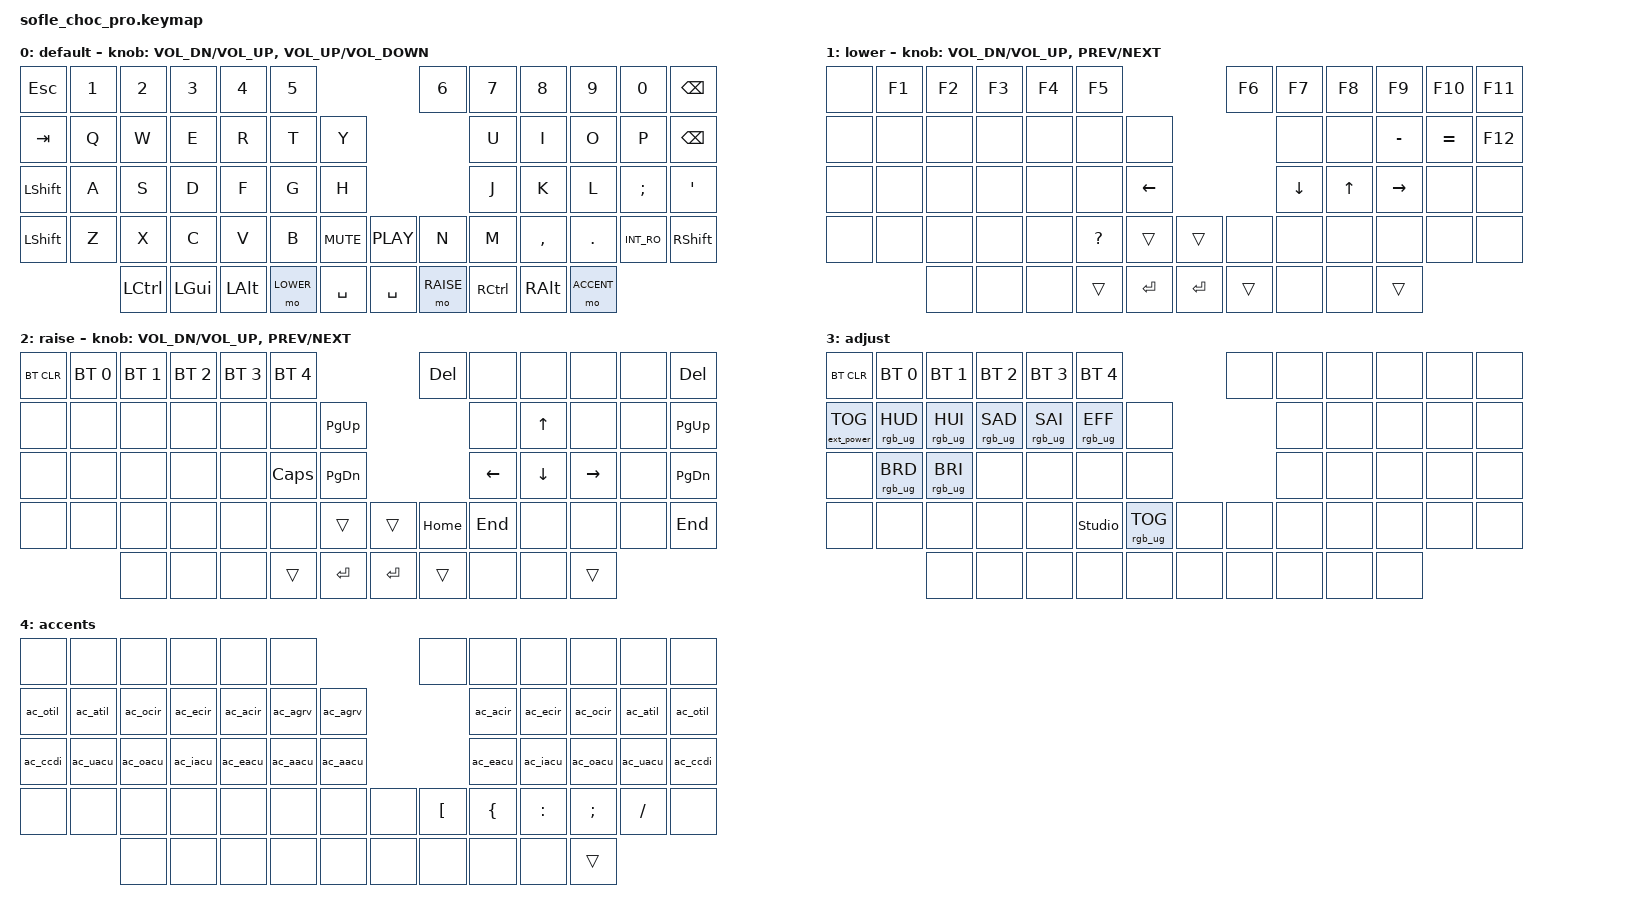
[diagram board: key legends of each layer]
/*
* Copyright (c) 2020 The ZMK Contributors
*
* SPDX-License-Identifier: MIT
*/

#include <behaviors.dtsi>
#include <dt-bindings/zmk/bt.h>
#include <dt-bindings/zmk/ext_power.h>
#include <dt-bindings/zmk/keys.h>
#include <dt-bindings/zmk/rgb.h>
#include "accents.dtsi"

#define BASE 0
#define LOWER 1
#define RAISE 2
#define ADJUST 3
#define ACCENT 4

/ {
    // Activate ADJUST layer by pressing raise and lower

    conditional_layers {
        compatible = "zmk,conditional-layers";

        adjust_layer {
            if-layers = <LOWER RAISE>;
            then-layer = <ADJUST>;
        };
    };

    keymap {
        compatible = "zmk,keymap";

        default_layer {
            display-name = "default";

            // ------------------------------------------------------------------------------------------------------------
            // |   `   |  1  |  2  |  3   |  4   |  5   |                   |  6   |  7    |  8    |  9   |   0   |   `   |
            // |  ESC  |  Q  |  W  |  E   |  R   |  T   |                   |  Y   |  U    |  I    |  O   |   P   | BKSPC |
            // |  TAB  |  A  |  S  |  D   |  F   |  G   |                   |  H   |  J    |  K    |  L   |   ;   |   '   |
            // | SHIFT |  Z  |  X  |  C   |  V   |  B   |  MUTE  |  | PLAY  |  N   |  M    |  ,    |  .   |   /   | SHIFT |
            //               | GUI | ALT  | CTRL | LOWER|  ENTER |  | SPACE | RAISE| CTRL  | ALT   | GUI  |

            bindings = <
&kp ESCAPE      &kp N1  &kp N2            &kp N3        &kp N4        &kp N5                             &kp N6     &kp N7     &kp N8     &kp N9      &kp N0      &kp BACKSPACE
&kp TAB         &kp Q   &kp W             &kp E         &kp R         &kp T      &kp Y                              &kp U      &kp I      &kp O       &kp P       &kp BSPC
&kp LEFT_SHIFT  &kp A   &kp S             &kp D         &kp F         &kp G      &kp H                              &kp J      &kp K      &kp L       &kp SEMI    &kp SQT
&kp LEFT_SHIFT  &kp Z   &kp X             &kp C         &kp V         &kp B      &kp C_MUTE  &kp C_PLAY  &kp N      &kp M      &kp COMMA  &kp DOT     &kp INT_RO  &kp RSHFT
                        &kp LEFT_CONTROL  &kp LEFT_GUI  &kp LEFT_ALT  &mo LOWER  &kp SPACE   &kp SPACE   &mo RAISE  &kp RCTRL  &kp RALT   &mo ACCENT
            >;

            sensor-bindings =
                <&inc_dec_kp C_VOL_DN C_VOL_UP>,
                <&inc_dec_kp C_VOLUME_UP C_VOLUME_DOWN>;
        };

        lower_layer {
            display-name = "lower";

            // ------------------------------------------------------------------------------------------------------------
            // |       |  F1 |  F2 |  F3  |  F4  |  F5  |                   |  F6  |  F7   |  F8   |  F9  |  F10  |  F11  |
            // |   `   |  1  |  2  |  3   |  4   |  5   |                   |  6   |  7    |  8    |  9   |   0   |  F12  |
            // |       |  !  |  @  |  #   |  $   |  %   |                   |  ^   |  &    |  *    |  (   |   )   |   |   |
            // |       |  =  |  -  |  +   |  {   |  }   |        |  |       |  [   |  ]    |  ;    |  :   |   \   |       |
            //               |     |      |      |      |        |  |       |      |       |       |      |

            bindings = <
&none  &kp F1  &kp F2  &kp F3  &kp F4  &kp F5                                   &kp F6  &kp F7          &kp F8        &kp F9           &kp F10    &kp F11
&none  &none   &none   &none   &none   &none         &none                              &none           &none         &kp MINUS        &kp EQUAL  &kp F12
&none  &none   &none   &none   &none   &none         &kp LEFT_ARROW                     &kp DOWN_ARROW  &kp UP_ARROW  &kp RIGHT_ARROW  &none      &none
&none  &none   &none   &none   &none   &kp QUESTION  &trans          &trans     &none   &none           &none         &none            &none      &none
               &none   &none   &none   &trans        &kp ENTER       &kp ENTER  &trans  &none           &none         &trans
            >;

            sensor-bindings = <&inc_dec_kp C_VOL_DN C_VOL_UP &inc_dec_kp C_PREV C_NEXT>;
        };

        raise_layer {
            display-name = "raise";

            // ------------------------------------------------------------------------------------------------------------
            // | BTCLR | BT1  | BT2  |  BT3  |  BT4  |  BT5 |                |      |      |       |      |       |       |
            // |       | INS  | PSCR | GUI   |       |      |                | PGUP |      |   ^   |      |       |       |
            // |       | ALT  | CTRL | SHIFT |       | CAPS |                | PGDN |   <- |   v   |  ->  |  DEL  | BKSPC |
            // |       | UNDO | CUT  | COPY  | PASTE | STUD |      |  |      |      |      |       |      |       |       |
            //                |      |       |       |      |      |  |      |      |      |       |      |

            bindings = <
&bt BT_CLR  &bt BT_SEL 0  &bt BT_SEL 1  &bt BT_SEL 2  &bt BT_SEL 3  &bt BT_SEL 4                        &kp DELETE  &none     &none     &none      &none  &kp DELETE
&none       &none         &none         &none         &none         &none         &kp PG_UP                         &none     &kp UP    &none      &none  &kp PG_UP
&none       &none         &none         &none         &none         &kp CLCK      &kp PG_DN                         &kp LEFT  &kp DOWN  &kp RIGHT  &none  &kp PAGE_DOWN
&none       &none         &none         &none         &none         &none         &trans     &trans     &kp HOME    &kp END   &none     &none      &none  &kp END
                          &none         &none         &none         &trans        &kp ENTER  &kp ENTER  &trans      &none     &none     &trans
            >;

            sensor-bindings = <&inc_dec_kp C_VOL_DN C_VOL_UP &inc_dec_kp C_PREV C_NEXT>;
        };

        adjust_layer {
            // ----------------------------------------------------------------------------------------------------------------------------
            // | BTCLR  |  BT1    |  BT2    |   BT3   |   BT4   |   BT5   |                  |      |      |       |      |       |       |
            // | EXTPWR | RGB_HUD | RGB_HUI | RGB_SAD | RGB_SAI | RGB_EFF |                  |      |      |       |      |       |       |
            // |        | RGB_BRD | RGB_BRI |         |         |         |                  |      |      |       |      |       |       |
            // |        |         |         |         |         |         | RGB_TOG | |      |      |      |       |      |       |       |
            //                    |         |         |         |         |         | |      |      |      |       |      |

            display-name = "adjust";
            bindings = <
&bt BT_CLR         &bt BT_SEL 0     &bt BT_SEL 1     &bt BT_SEL 2     &bt BT_SEL 3     &bt BT_SEL 4                             &none  &none  &none  &none  &none  &none
&ext_power EP_TOG  &rgb_ug RGB_HUD  &rgb_ug RGB_HUI  &rgb_ug RGB_SAD  &rgb_ug RGB_SAI  &rgb_ug RGB_EFF  &none                          &none  &none  &none  &none  &none
&none              &rgb_ug RGB_BRD  &rgb_ug RGB_BRI  &none            &none            &none            &none                          &none  &none  &none  &none  &none
&none              &none            &none            &none            &none            &studio_unlock   &rgb_ug RGB_TOG  &none  &none  &none  &none  &none  &none  &none
                                    &none            &none            &none            &none            &none            &none  &none  &none  &none  &none
            >;
        };

        accents_layer {
            // ----------------------------------------------------------------------------------------------------------------------------
            // |  õ  |  ã  |  ô  |  ê  |  â  |  à  |                  |  à  |  â  |  ê  |  ô  |  ã  |  õ  |
            // |  ç  |  ú  |  ó  |  í  |  é  |  á  |                  |  á  |  é  |  í  |  ó  |  ú  |  ç  |
            // |     |     |     |     |     |     |                  |     |     |     |     |     |     |
            // |     |     |     |     |     |     |        |  |      |     |     |     |     |     |     |
            //              |     |     |     |     |     |  |  |      |     |     |     |     |

            display-name = "accents";
            bindings = <
&none     &none     &none     &none     &none     &none                      &none             &none           &none      &none     &none      &none
&ac_otil  &ac_atil  &ac_ocir  &ac_ecir  &ac_acir  &ac_agrv  &ac_agrv                           &ac_acir        &ac_ecir   &ac_ocir  &ac_atil   &ac_otil
&ac_ccdi  &ac_uacu  &ac_oacu  &ac_iacu  &ac_eacu  &ac_aacu  &ac_aacu                           &ac_eacu        &ac_iacu   &ac_oacu  &ac_uacu   &ac_ccdi
&none     &none     &none     &none     &none     &none     &none     &none  &kp LEFT_BRACKET  &kp LEFT_BRACE  &kp COLON  &kp SEMI  &kp SLASH  &none
                    &none     &none     &none     &none     &none     &none  &none             &none           &none      &trans
            >;
        };
    };
};
